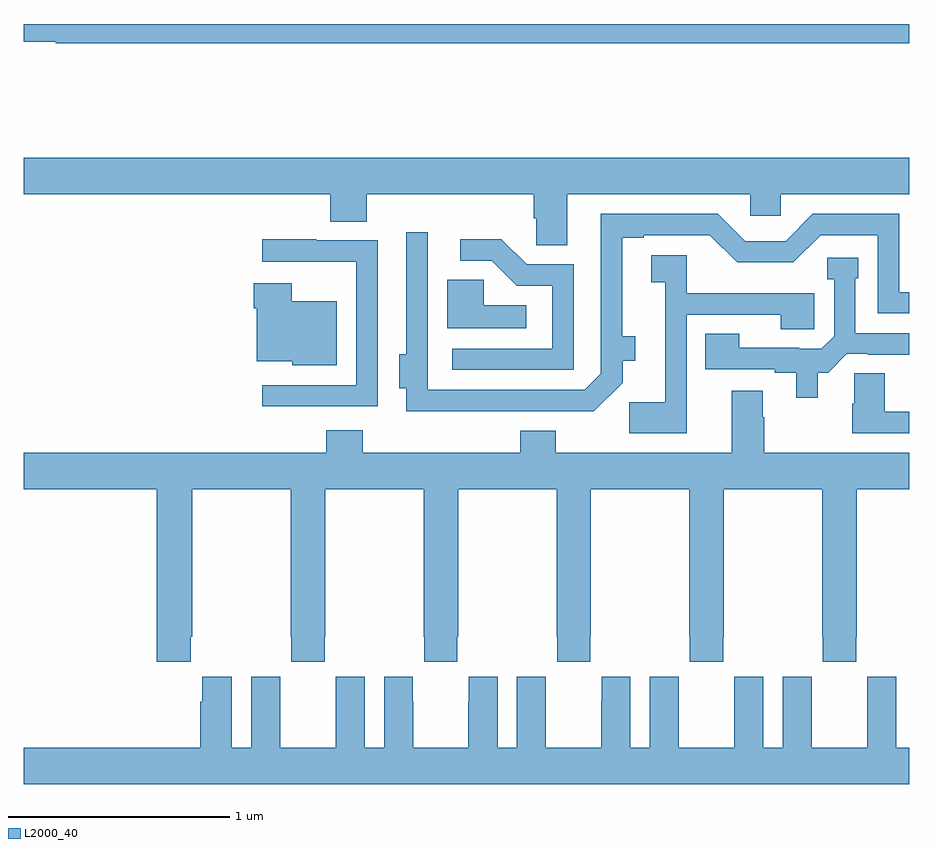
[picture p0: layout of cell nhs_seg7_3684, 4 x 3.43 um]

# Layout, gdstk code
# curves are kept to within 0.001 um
import gdstk
lib = gdstk.Library(unit=1e-6, precision=1e-09)
def P(c, l, *ps):  # polygons
    for p in ps: c.add(gdstk.Polygon(p, *l))
L2000_40 = (2000, 40)

nhs_seg7_3684 = lib.new_cell('nhs_seg7_3684')
P(nhs_seg7_3684, L2000_40, [(349,1052),(345,1052),(345,1051.92),(345.145,1051.92),(345.145,1051.912),(349,1051.912)],
  [(347.455,1051.232),(348.282,1051.232),(348.282,1051.134),(348.42,1051.134),(348.42,1051.232),(349,1051.232),(349,1051.396),(345,1051.396),(345,1051.232),(346.385,1051.232),(346.385,1051.108),(346.55,1051.108),(346.55,1051.232),(347.303,1051.232),(347.303,1051.123),(347.316,1051.123),(347.316,1051),(347.455,1051)],
  [(347.159,1050.252),(347.575,1050.251),(347.705,1050.38),(347.705,1050.479),(347.761,1050.479),(347.761,1050.589),(347.704,1050.589),(347.704,1051.035),(347.8,1051.035),(347.8,1051.047),(348.098,1051.047),(348.222,1050.923),(348.476,1050.923),(348.6,1051.047),(348.858,1051.047),(348.858,1050.693),(349,1050.693),(349,1050.789),(348.954,1050.789),(348.954,1051.143),(348.564,1051.143),(348.441,1051.02),(348.258,1051.02),(348.135,1051.143),(347.607,1051.143),(347.607,1050.42),(347.535,1050.348),(346.824,1050.348),(346.824,1051.06),(346.728,1051.06),(346.728,1050.509),(346.697,1050.509),(346.697,1050.356),(346.728,1050.356),(346.728,1050.251)],
  [(347.484,1050.915),(347.271,1050.915),(347.158,1051.028),(346.971,1051.028),(346.971,1050.93),(347.115,1050.93),(347.226,1050.819),(347.388,1050.819),(347.388,1050.534),(346.935,1050.534),(346.935,1050.438),(347.484,1050.438)],
  [(346.599,1051.023),(346.321,1051.023),(346.321,1051.027),(346.077,1051.027),(346.077,1050.926),(346.503,1050.926),(346.503,1050.369),(346.077,1050.369),(346.077,1050.273),(346.599,1050.273)],
  [(347.994,1050.687),(348.418,1050.687),(348.418,1050.622),(348.571,1050.622),(348.571,1050.783),(348.461,1050.783),(348.461,1050.784),(347.994,1050.784),(347.994,1050.955),(347.835,1050.955),(347.835,1050.834),(347.897,1050.834),(347.897,1050.291),(347.736,1050.291),(347.736,1050.152),(347.994,1050.152)],
  [(348.586,1050.426),(348.633,1050.426),(348.717,1050.51),(348.811,1050.51),(348.811,1050.507),(349,1050.507),(349,1050.603),(348.756,1050.603),(348.756,1050.852),(348.769,1050.852),(348.769,1050.945),(348.63,1050.945),(348.63,1050.847),(348.66,1050.847),(348.66,1050.591),(348.603,1050.534),(348.503,1050.534),(348.503,1050.537),(348.231,1050.537),(348.231,1050.602),(348.079,1050.602),(348.079,1050.441),(348.392,1050.441),(348.392,1050.426),(348.488,1050.426),(348.488,1050.312),(348.586,1050.312)],
  [(347.269,1050.73),(347.077,1050.73),(347.077,1050.845),(346.913,1050.845),(346.913,1050.626),(347.269,1050.626)],
  [(346.414,1050.748),(346.21,1050.748),(346.21,1050.829),(346.04,1050.829),(346.04,1050.716),(346.052,1050.716),(346.052,1050.476),(346.212,1050.476),(346.212,1050.458),(346.414,1050.458)],
  [(349,1050.249),(348.889,1050.249),(348.889,1050.422),(348.751,1050.422),(348.751,1050.285),(348.742,1050.285),(348.742,1050.153),(349,1050.153)],
  [(345.755,1049.233),(345.762,1049.233),(345.762,1049.9),(346.207,1049.9),(346.207,1049.233),(346.209,1049.233),(346.209,1049.121),(346.359,1049.121),(346.359,1049.233),(346.362,1049.233),(346.362,1049.9),(346.807,1049.9),(346.807,1049.233),(346.809,1049.233),(346.809,1049.121),(346.959,1049.121),(346.959,1049.233),(346.962,1049.233),(346.962,1049.9),(347.407,1049.9),(347.407,1049.233),(347.409,1049.233),(347.409,1049.121),(347.559,1049.121),(347.559,1049.233),(347.562,1049.233),(347.562,1049.9),(348.007,1049.9),(348.007,1049.233),(348.009,1049.233),(348.009,1049.121),(348.159,1049.121),(348.159,1049.233),(348.162,1049.233),(348.162,1049.9),(348.607,1049.9),(348.607,1049.233),(348.609,1049.233),(348.609,1049.121),(348.759,1049.121),(348.759,1049.233),(348.762,1049.233),(348.762,1049.9),(349,1049.9),(349,1050.064),(348.345,1050.064),(348.345,1050.224),(348.337,1050.224),(348.337,1050.343),(348.197,1050.343),(348.197,1050.064),(347.403,1050.064),(347.403,1050.163),(347.243,1050.163),(347.243,1050.064),(346.532,1050.064),(346.532,1050.166),(346.367,1050.166),(346.367,1050.064),(345,1050.064),(345,1049.9),(345.602,1049.9),(345.602,1049.121),(345.755,1049.121)],
  [(349,1048.732),(348.94,1048.732),(348.94,1049.053),(348.81,1049.053),(348.81,1048.94),(348.809,1048.94),(348.809,1048.732),(348.559,1048.732),(348.559,1048.94),(348.558,1048.94),(348.558,1049.053),(348.428,1049.053),(348.428,1048.732),(348.34,1048.732),(348.34,1049.053),(348.21,1049.053),(348.21,1048.94),(348.209,1048.94),(348.209,1048.732),(347.959,1048.732),(347.959,1048.94),(347.958,1048.94),(347.958,1049.053),(347.828,1049.053),(347.828,1048.732),(347.74,1048.732),(347.74,1049.053),(347.61,1049.053),(347.61,1048.94),(347.609,1048.94),(347.609,1048.732),(347.359,1048.732),(347.359,1048.94),(347.358,1048.94),(347.358,1049.053),(347.228,1049.053),(347.228,1048.732),(347.14,1048.732),(347.14,1049.053),(347.01,1049.053),(347.01,1048.94),(347.009,1048.94),(347.009,1048.732),(346.759,1048.732),(346.759,1048.94),(346.758,1048.94),(346.758,1049.053),(346.628,1049.053),(346.628,1048.732),(346.54,1048.732),(346.54,1049.053),(346.41,1049.053),(346.41,1048.94),(346.409,1048.94),(346.409,1048.732),(346.159,1048.732),(346.159,1048.94),(346.158,1048.94),(346.158,1049.053),(346.028,1049.053),(346.028,1048.732),(345.94,1048.732),(345.94,1049.053),(345.806,1049.053),(345.806,1048.94),(345.797,1048.94),(345.797,1048.732),(345,1048.732),(345,1048.568),(349,1048.568)])

lib.write_gds('nhs_seg7_3684.gds')
